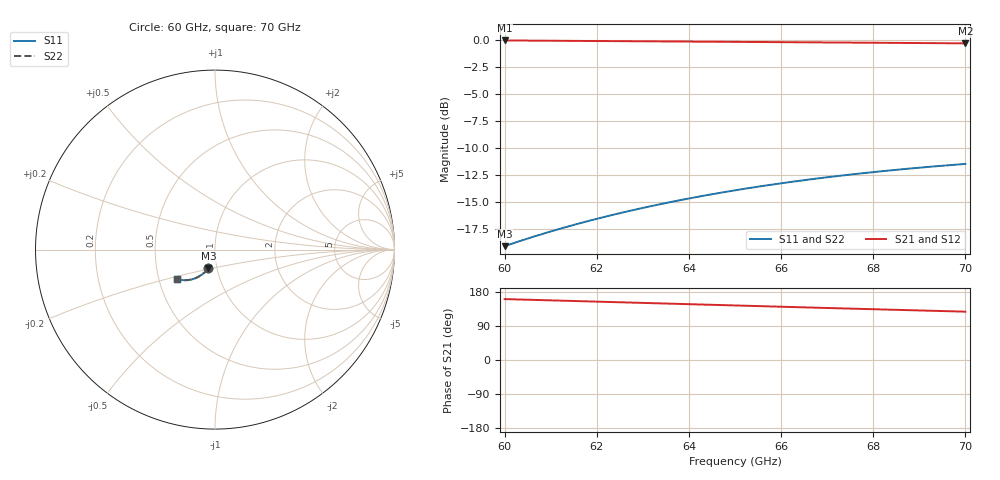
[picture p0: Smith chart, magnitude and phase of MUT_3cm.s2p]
! TOUCHSTONE file generated by CST MICROWAVE STUDIO
! Date and time: Sat Feb 17 12:40:09 2024
! Project name: MUT_rotado.cst
! Header version: 2018
! Port assignment regex: !\s*Touchstone port\s*([0-9]+)\s*=\s*(CST MWS port|CST DS port)\s*([0-9]+|Zmin|Zmax)\s*\(\"(.*)\"\)(\s*mode\s*([0-9]+))?.*
! Touchstone port assignment:
! Touchstone port 1 = CST MWS port 1 ("")
! Touchstone port 2 = CST MWS port 2 ("")
# GHz S MA R 376.7
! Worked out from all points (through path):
!   1001 points, 60 GHz to 70 GHz, reference 376.7 ohm
!   highest |S21| = -0.05 dB at 60 GHz (marker M1); lowest = -0.3 dB at 70 GHz (marker M2)
!   group delay of S21, straight-line fit = 9.23 ps
!   lowest |S11| = -19.1 dB at 60 GHz (marker M3), VSWR 1.25, Z = 342 - j72.8 ohm
!   |S11| at or under -10 dB: start of sweep to end of sweep
!   |S22| runs from -19.1 to -11.5 dB; largest |S21 - S12| = 0.0013
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60  0.1114 -109.4  0.9938 160.7  0.9939 160.8  0.1114 -109.1
60.05  0.1123 -109.6  0.9937 160.6  0.9938 160.6  0.1123 -109.3
60.45  0.1198 -111.0  0.9925 159.2  0.9932 159.2  0.1198 -110.6
60.87  0.1278 -112.5  0.9913 157.8  0.9923 157.8  0.1276 -112.0
61.26  0.1351 -113.8  0.9902 156.4  0.9914 156.4  0.1348 -113.3
61.67  0.1428 -115.2  0.9891 155.0  0.9904 155.0  0.1424 -114.8
62.07  0.1503 -116.5  0.9879 153.7  0.9893 153.7  0.1498 -116.1
62.49  0.158 -117.9  0.9867 152.3  0.988 152.3  0.1576 -117.6
62.91  0.1657 -119.3  0.9855 150.8  0.9866 150.8  0.1652 -119.1
63.34  0.1734 -120.7  0.9842 149.4  0.9852 149.4  0.173 -120.6
63.74  0.1805 -122.0  0.9831 148.0  0.9838 148.0  0.1801 -122.0
64.15  0.1876 -123.4  0.9818 146.7  0.9823 146.7  0.1874 -123.4
64.58  0.1948 -124.8  0.9806 145.2  0.9808 145.2  0.1948 -124.8
65  0.2018 -126.1  0.9793 143.8  0.9793 143.8  0.2018 -126.2
65.4  0.2082 -127.4  0.9781 142.5  0.9779 142.5  0.2083 -127.6
65.81  0.2145 -128.8  0.9768 141.1  0.9765 141.1  0.2148 -128.9
66.67  0.2272 -131.6  0.974 138.3  0.9737 138.3  0.2274 -131.8
67.49  0.2384 -134.2  0.9711 135.7  0.9711 135.7  0.2385 -134.4
68.34  0.249 -137.0  0.9679 132.9  0.9684 132.9  0.249 -137.2
69.3  0.26 -140.2  0.9652 129.8  0.9656 129.8  0.2599 -140.3
69.95  0.2667 -142.3  0.9637 127.7  0.9637 127.7  0.2667 -142.3
70  0.2672 -142.5  0.9636 127.5  0.9635 127.6  0.2672 -142.4
